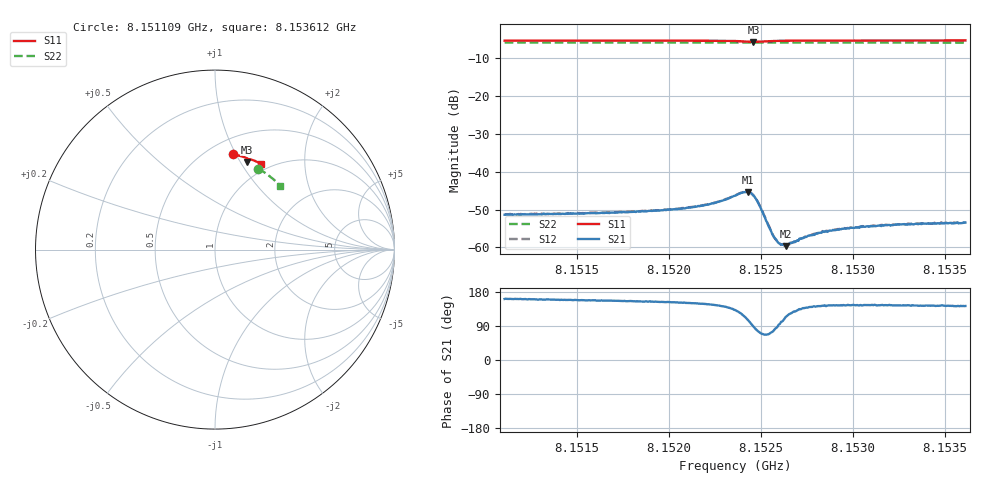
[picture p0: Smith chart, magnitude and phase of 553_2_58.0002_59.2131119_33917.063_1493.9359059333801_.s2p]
#  HZ  S  RI  R  50.00
! Rohde & Schwarz Vector Network Analyzer
! Rohde-Schwarz,ZNB20-2Port,1311601062101988,3.16
! Created: UTC 3/21/2024, 1:15:05 AM
! freq[Hz]  re:S11  im:S11  re:S21  im:S21  re:S12  im:S12  re:S22  im:S22
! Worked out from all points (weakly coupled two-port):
!   401 points, 8.151109 GHz to 8.153612 GHz, reference 50 ohm
!   highest |S21| = -45.34 dB at 8.152429 GHz (marker M1); lowest = -59.7 dB at 8.152636 GHz (marker M2)
!   lowest |S11| = -5.7 dB at 8.152461 GHz (marker M3), VSWR 3.17, Z = 40 + j53.6 ohm
!   |S11| at or under -10 dB: nowhere
!   |S22| runs from -5.9 to -5.8 dB; largest |S21 - S12| = 0.00012
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8.1511088e9  0.0979 0.5305  -0.00255 0.000874  -0.00257 0.000885  0.24 0.4517
8.1515281e9  0.1271 0.5249  -0.0026 0.00105  -0.00261 0.00109  0.2632 0.438
8.1519474e9  0.1565 0.5173  -0.00274 0.00138  -0.00275 0.00141  0.2853 0.423
8.1520788e9  0.1658 0.5142  -0.00285 0.00158  -0.00288 0.00164  0.2922 0.4181
8.1522102e9  0.1761 0.5101  -0.00308 0.00201  -0.00309 0.00203  0.299 0.4132
8.1522853e9  0.1823 0.5065  -0.00324 0.00251  -0.00323 0.00252  0.303 0.4102
8.1523604e9  0.1882 0.4997  -0.00322 0.00358  -0.00321 0.00363  0.3065 0.4069
8.1524042e9  0.1888 0.493  -0.00252 0.00467  -0.00249 0.00476  0.3086 0.405
8.1524293e9  0.1862 0.4892  -0.00153 0.00518  -0.00149 0.00527  0.3097 0.404
8.1524418e9  0.1838 0.4881  -0.000847 0.00523  -0.000792 0.00526  0.3101 0.4035
8.1524606e9  0.1802 0.4884  0.000143 0.00482  0.000217 0.00488  0.3108 0.403
8.1524856e9  0.1768 0.4921  0.000956 0.00379  0.00104 0.00381  0.3119 0.4022
8.1525544e9  0.1812 0.5016  0.000522 0.00159  0.000563 0.00157  0.3157 0.3998
8.1525795e9  0.1842 0.5027  0.00016 0.00129  0.000207 0.00127  0.3168 0.3989
8.1526045e9  0.1871 0.5034  -0.000105 0.0011  -9.11e-05 0.00112  0.3181 0.3978
8.1526358e9  0.1904 0.5034  -0.000413 0.00095  -0.000396 0.00101  0.3199 0.3965
8.1527234e9  0.1985 0.5023  -0.000945 0.000927  -0.000924 0.000931  0.324 0.393
8.1527797e9  0.2031 0.5012  -0.00111 0.000928  -0.00115 0.000936  0.3268 0.3905
8.1528423e9  0.2079 0.4995  -0.00128 0.00096  -0.00125 0.001  0.3298 0.3879
8.1529424e9  0.215 0.4971  -0.00142 0.00104  -0.00142 0.00103  0.3347 0.3836
8.153199e9  0.2324 0.49  -0.00163 0.00112  -0.00163 0.00115  0.3466 0.3725
8.1536121e9  0.2588 0.4774  -0.00169 0.0013  -0.00168 0.00132  0.3649 0.3537
